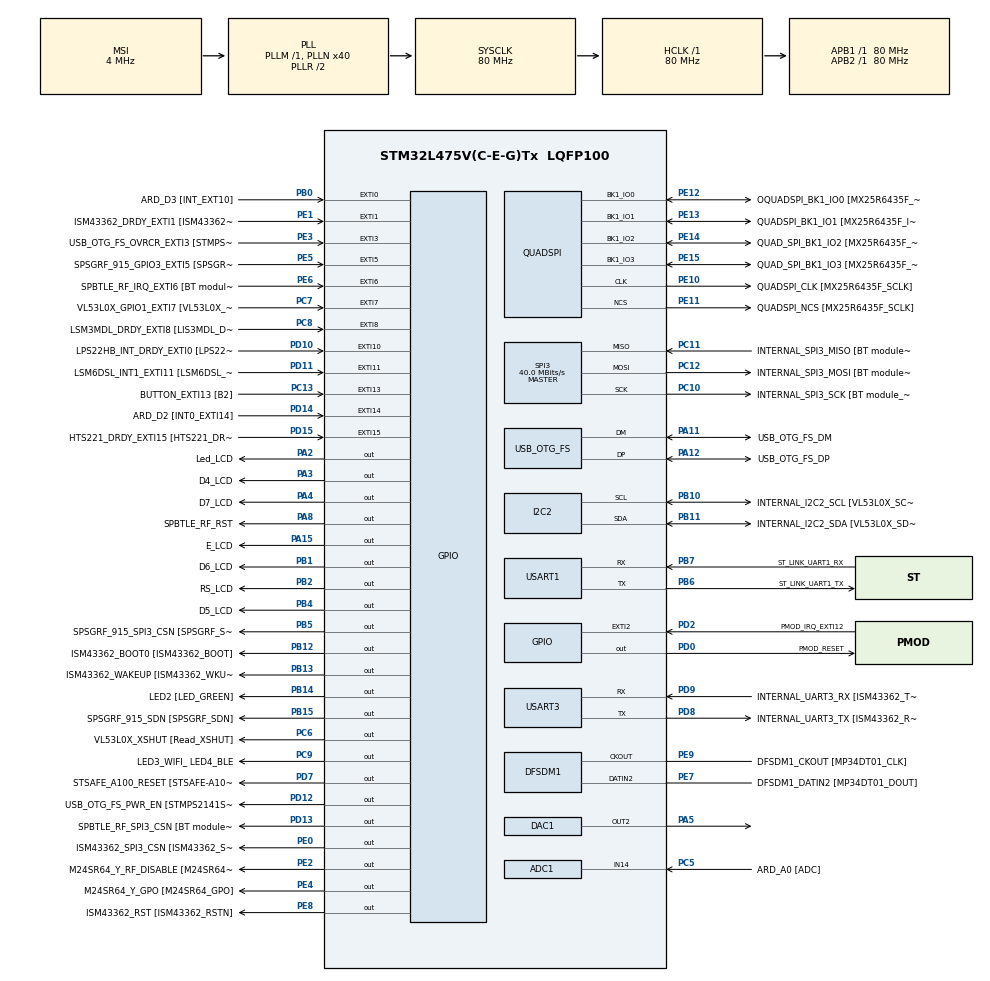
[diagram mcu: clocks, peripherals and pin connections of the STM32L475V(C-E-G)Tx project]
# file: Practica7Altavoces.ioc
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ADC1.Channel-3\#ChannelRegularConversion=ADC_CHANNEL_14
ADC1.NbrOfConversionFlag=1
ADC1.OffsetNumber-3\#ChannelRegularConversion=ADC_OFFSET_NONE
ADC1.Rank-3\#ChannelRegularConversion=1
ADC1.SamplingTime-3\#ChannelRegularConversion=ADC_SAMPLETIME_2CYCLES_5
ADC1.master=1
DAC1.DAC_Channel-DAC_OUT2=DAC_CHANNEL_2
DAC1.DAC_Channel-DAC_OUT2_ExtAndInt=DAC_CHANNEL_2
I2C2.Timing=0x10D19CE4
Mcu.Family=STM32L4
Mcu.Name=STM32L475V(C-E-G)Tx
Mcu.Package=LQFP100
NVIC.EXTI15_10_IRQn=true\:0\:0\:false\:false\:true\:true\:true\:true
NVIC.EXTI9_5_IRQn=true\:0\:0\:false\:false\:true\:true\:true\:true
NVIC.OTG_FS_IRQn=true\:0\:0\:false\:false\:true\:true\:true\:true
NVIC.PriorityGroup=NVIC_PRIORITYGROUP_4
NVIC.TIM7_IRQn=true\:0\:0\:false\:false\:true\:true\:true\:true
PA0.GPIO_Label=ARD_D1 [UART4_TX]
PA0.Signal=UART4_TX
PA1.GPIO_Label=ARD_D0 [UART4_RX]
PA1.Signal=UART4_RX
PA10.GPIO_Label=USB_OTG_FS_ID
PA10.Signal=USB_OTG_FS_ID
PA11.GPIO_Label=USB_OTG_FS_DM
PA11.Mode=Device_Only
PA11.Signal=USB_OTG_FS_DM
PA12.GPIO_Label=USB_OTG_FS_DP
PA12.Mode=Device_Only
PA12.Signal=USB_OTG_FS_DP
PA13\ (JTMS-SWDIO).GPIO_Label=SYS_JTMS_SWDIO
PA13\ (JTMS-SWDIO).Mode=Serial_Wire
PA13\ (JTMS-SWDIO).Signal=SYS_JTMS-SWDIO
PA14\ (JTCK-SWCLK).GPIO_Label=SYS_JTCK_SWCLK
PA14\ (JTCK-SWCLK).Mode=Serial_Wire
PA14\ (JTCK-SWCLK).Signal=SYS_JTCK-SWCLK
PA15\ (JTDI).GPIO_Label=E_LCD
PA15\ (JTDI).Signal=GPIO_Output
PA2.GPIO_Label=Led_LCD
PA2.Signal=GPIO_Output
PA3.GPIO_Label=D4_LCD
PA3.Signal=GPIO_Output
PA4.GPIO_Label=D7_LCD
PA4.Signal=GPIO_Output
PA5.Signal=COMP_DAC12_group
PA6.GPIO_Label=ARD_D12 [SPI1_MISO]
PA6.Signal=SPI1_MISO
PA7.GPIO_Label=ARD_D11 [SPI1_MOSI]
PA7.Signal=SPI1_MOSI
PA8.GPIO_Label=SPBTLE_RF_RST
PA8.Signal=GPIO_Output
PA9.GPIO_Label=USB_OTG_FS_VBUS [STMPS2141STR_OUT]
PA9.Signal=USB_OTG_FS_VBUS
PB0.GPIO_Label=ARD_D3 [INT_EXT10]
PB0.Signal=GPXTI0
PB1.GPIO_Label=D6_LCD
PB1.Signal=GPIO_Output
PB10.GPIO_Label=INTERNAL_I2C2_SCL [VL53L0X_SCL]
PB10.GPIO_Pu=GPIO_PULLUP
PB10.Mode=I2C
PB10.Signal=I2C2_SCL
PB11.GPIO_Label=INTERNAL_I2C2_SDA [VL53L0X_SDA]
PB11.GPIO_Pu=GPIO_PULLUP
PB11.Mode=I2C
PB11.Signal=I2C2_SDA
PB12.GPIO_Label=ISM43362_BOOT0 [ISM43362_BOOT]
PB12.Signal=GPIO_Output
PB13.GPIO_Label=ISM43362_WAKEUP [ISM43362_WKUP]
PB13.Signal=GPIO_Output
PB14.GPIO_Label=LED2 [LED_GREEN]
PB14.Signal=GPIO_Output
PB15.GPIO_Label=SPSGRF_915_SDN [SPSGRF_SDN]
PB15.Signal=GPIO_Output
PB2.GPIO_Label=RS_LCD
PB2.Signal=GPIO_Output
PB3\ (JTDO-TRACESWO).GPIO_Label=SYS_JTD0_SWO
PB3\ (JTDO-TRACESWO).Signal=SYS_JTDO-SWO
PB4\ (NJTRST).GPIO_Label=D5_LCD
PB4\ (NJTRST).Signal=GPIO_Output
PB5.GPIO_Label=SPSGRF_915_SPI3_CSN [SPSGRF_SPI_CS]
PB5.PinState=GPIO_PIN_SET
PB5.Signal=GPIO_Output
PB6.GPIO_Label=ST_LINK_UART1_TX
PB6.Mode=Asynchronous
PB6.Signal=USART1_TX
PB7.GPIO_Label=ST_LINK_UART1_RX
PB7.Mode=Asynchronous
PB7.Signal=USART1_RX
PB8.GPIO_Label=ARD_D15 [I2C1_SCL]
PB8.Signal=I2C1_SCL
PB9.GPIO_Label=ARD_D14 [I2C1_SDA]
PB9.Signal=I2C1_SDA
PC0.GPIO_Label=ARD_A5 [ADC]
PC0.Signal=ADCx_IN1
PC1.GPIO_Label=ARD_A4 [ADC]
PC1.Signal=ADCx_IN2
PC10.GPIO_Label=INTERNAL_SPI3_SCK [BT module_SPI_SCLK] [ISM43362_SCK]
PC10.Mode=Full_Duplex_Master
PC10.Signal=SPI3_SCK
PC11.GPIO_Label=INTERNAL_SPI3_MISO [BT module_SPI_MISO] [ISM43362_MISO]
PC11.Mode=Full_Duplex_Master
PC11.Signal=SPI3_MISO
PC12.GPIO_Label=INTERNAL_SPI3_MOSI [BT module_SPI_MOSI] [ISM43362_MOSI]
PC12.Mode=Full_Duplex_Master
PC12.Signal=SPI3_MOSI
PC13.GPIO_Label=BUTTON_EXTI13 [B2]
PC13.GPIO_ModeDefaultEXTI=GPIO_MODE_IT_FALLING
PC13.Signal=GPXTI13
PC14-OSC32_IN\ (PC14).Mode=LSE-External-Oscillator
PC14-OSC32_IN\ (PC14).Signal=RCC_OSC32_IN
PC15-OSC32_OUT\ (PC15).Mode=LSE-External-Oscillator
PC15-OSC32_OUT\ (PC15).Signal=RCC_OSC32_OUT
PC2.GPIO_Label=ARD_A3 [ADC]
PC2.Signal=ADCx_IN3
PC3.GPIO_Label=ARD_A2 [ADC]
PC3.Signal=ADCx_IN4
PC4.GPIO_Label=ARD_A1 [ADC]
PC4.Signal=ADCx_IN13
PC5.GPIO_Label=ARD_A0 [ADC]
PC5.Signal=ADCx_IN14
PC6.GPIO_Label=VL53L0X_XSHUT [Read_XSHUT]
PC6.Signal=GPIO_Output
PC7.GPIO_Label=VL53L0X_GPIO1_EXTI7 [VL53L0X_GPIO1]
PC7.Signal=GPXTI7
PC8.GPIO_Label=LSM3MDL_DRDY_EXTI8 [LIS3MDL_DRDY]
PC8.Signal=GPXTI8
PC9.GPIO_Label=LED3_WIFI_ LED4_BLE
PC9.Signal=GPIO_Output
PD0.GPIO_Label=PMOD_RESET
PD0.Signal=GPIO_Output
PD1.GPIO_Label=PMOD_SPI2_SCK
PD1.Signal=SPI2_SCK
PD10.GPIO_Label=LPS22HB_INT_DRDY_EXTI0 [LPS22HB_INT_DRDY] 
PD10.Signal=GPXTI10
PD11.GPIO_Label=LSM6DSL_INT1_EXTI11 [LSM6DSL_INT1]
PD11.Signal=GPXTI11
PD12.GPIO_Label=USB_OTG_FS_PWR_EN [STMPS2141STR_EN]
PD12.Signal=GPIO_Output
PD13.GPIO_Label=SPBTLE_RF_SPI3_CSN [BT module_SPI_CS]
PD13.PinState=GPIO_PIN_SET
PD13.Signal=GPIO_Output
PD14.GPIO_Label=ARD_D2 [INT0_EXTI14]
PD14.Signal=GPXTI14
PD15.GPIO_Label=HTS221_DRDY_EXTI15 [HTS221_DRDY]
PD15.Signal=GPXTI15
PD2.GPIO_Label=PMOD_IRQ_EXTI12
PD2.Signal=GPXTI2
PD3.GPIO_Label=PMOD_UART2_CTS
PD3.Signal=USART2_CTS
PD4.GPIO_Label=PMOD_UART2_RTS
PD4.Signal=USART2_RTS
PD5.GPIO_Label=PMOD_UART2_TX
PD5.Signal=USART2_TX
PD6.GPIO_Label=PMOD_UART2_RX
PD6.Signal=USART2_RX
PD7.GPIO_Label=STSAFE_A100_RESET [STSAFE-A100_RESET]
PD7.Signal=GPIO_Output
PD8.GPIO_Label=INTERNAL_UART3_TX [ISM43362_RX]
PD8.Mode=Asynchronous
PD8.Signal=USART3_TX
PD9.GPIO_Label=INTERNAL_UART3_RX [ISM43362_TX]
PD9.Mode=Asynchronous
PD9.Signal=USART3_RX
PE0.GPIO_Label=ISM43362_SPI3_CSN [ISM43362_SSN]
PE0.PinState=GPIO_PIN_SET
PE0.Signal=GPIO_Output
PE1.GPIO_Label=ISM43362_DRDY_EXTI1 [ISM43362_DATARDY]
PE1.Signal=GPXTI1
PE10.GPIO_Label=QUADSPI_CLK [MX25R6435F_SCLK]
PE10.Mode=Single Bank
PE10.Signal=QUADSPI_CLK
PE11.GPIO_Label=QUADSPI_NCS [MX25R6435F_SCLK]
PE11.Mode=Single Bank
PE11.Signal=QUADSPI_NCS
PE12.GPIO_Label=OQUADSPI_BK1_IO0 [MX25R6435F_IO0]
PE12.Mode=Single Bank
PE12.Signal=QUADSPI_BK1_IO0
PE13.GPIO_Label=QUADSPI_BK1_IO1 [MX25R6435F_IO1]
PE13.Mode=Single Bank
PE13.Signal=QUADSPI_BK1_IO1
PE14.GPIO_Label=QUAD_SPI_BK1_IO2 [MX25R6435F_IO2]
PE14.Mode=Single Bank
PE14.Signal=QUADSPI_BK1_IO2
PE15.GPIO_Label=QUAD_SPI_BK1_IO3 [MX25R6435F_IO3]
PE15.Mode=Single Bank
PE15.Signal=QUADSPI_BK1_IO3
PE2.GPIO_Label=M24SR64_Y_RF_DISABLE [M24SR64_RFDIS]
PE2.Signal=GPIO_Output
PE3.GPIO_Label=USB_OTG_FS_OVRCR_EXTI3 [STMPS2141STR_FAULT]
PE3.Signal=GPXTI3
PE4.GPIO_Label=M24SR64_Y_GPO [M24SR64_GPO]
PE4.Signal=GPIO_Output
PE5.GPIO_Label=SPSGRF_915_GPIO3_EXTI5 [SPSGRF_GPIO_3]
PE5.Signal=GPXTI5
PE6.GPIO_Label=SPBTLE_RF_IRQ_EXTI6 [BT module_SPI_IRQ]
PE6.Signal=GPXTI6
PE7.GPIO_Label=DFSDM1_DATIN2 [MP34DT01_DOUT]
PE7.Signal=S_DATAIN2DFSDM1
PE8.GPIO_Label=ISM43362_RST [ISM43362_RSTN]
PE8.Signal=GPIO_Output
PE9.GPIO_Label=DFSDM1_CKOUT [MP34DT01_CLK]
PE9.Signal=S_CKOUTDFSDM1
ProjectManager.HeapSize=0x200
ProjectManager.StackSize=0x400
ProjectManager.TargetToolchain=STM32CubeIDE
QUADSPI.ClockPrescaler=2
QUADSPI.FifoThreshold=4
QUADSPI.FlashSize=23
QUADSPI.SampleShifting=QSPI_SAMPLE_SHIFTING_HALFCYCLE
RCC.ADCFreq_Value=48000000
RCC.AHBFreq_Value=80000000
RCC.APB1Freq_Value=80000000
RCC.APB1TimFreq_Value=80000000
RCC.APB2Freq_Value=80000000
RCC.APB2TimFreq_Value=80000000
RCC.CortexFreq_Value=80000000
RCC.HCLKFreq_Value=80000000
RCC.HSE_VALUE=8000000
RCC.HSI_VALUE=16000000
RCC.MSI_VALUE=4000000
RCC.PLLN=40
RCC.PLLSAI1N=24
RCC.SYSCLKFreq_VALUE=80000000
RCC.SYSCLKSource=RCC_SYSCLKSOURCE_PLLCLK
RCC.USBFreq_Value=48000000
RCC.VCOOutputFreq_Value=160000000
SH.ADCx_IN1.0=ADC1_IN1
SH.ADCx_IN13.0=ADC1_IN13
SH.ADCx_IN14.0=ADC1_IN14,IN14-Single-Ended
SH.ADCx_IN2.0=ADC1_IN2
SH.ADCx_IN3.0=ADC1_IN3
SH.ADCx_IN4.0=ADC1_IN4
SH.COMP_DAC12_group.0=DAC1_OUT2,DAC_OUT2
SH.S_CKOUTDFSDM1.0=DFSDM1_CKOUT,CKOUT
SH.S_CKOUTDFSDM1.1=DFSDM1_CKOUT,PDM_SPI_Input_from_ch12_and_Internal_Clock
SH.S_DATAIN2DFSDM1.0=DFSDM1_DATIN2,PDM_SPI_Input_from_ch12_and_Internal_Clock
SPI3.CalculateBaudRate=40.0 MBits/s
SPI3.Direction=SPI_DIRECTION_2LINES
SPI3.Mode=SPI_MODE_MASTER
SPI3.VirtualType=VM_MASTER
TIM7.Period=3300
USART1.VirtualMode-Asynchronous=VM_ASYNC
USART3.VirtualMode-Asynchronous=VM_ASYNC
USB_DEVICE.CLASS_NAME_FS=AUDIO
USB_DEVICE.USBD_AUDIO_FREQ=24000
USB_DEVICE.VirtualMode=Audio
USB_DEVICE.VirtualModeFS=Audio_FS
USB_OTG_FS.VirtualMode=Device_Only
VP_TIM7_VS_ClockSourceINT.Mode=Enable_Timer
VP_USB_DEVICE_VS_USB_DEVICE_AUDIO_FS.Mode=AUDIO_FS
board=B-L475E-IOT01A1

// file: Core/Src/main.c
/* USER CODE BEGIN Header */
/**
  ******************************************************************************
  * @file           : main.c
  * @brief          : Main program body
  ******************************************************************************
  * @attention
  *
  * Copyright (c) 2025 STMicroelectronics.
  * All rights reserved.
  *
  * This software is licensed under terms that can be found in the LICENSE file
  * in the root directory of this software component.
  * If no LICENSE file comes with this software, it is provided AS-IS.
  *
  ******************************************************************************
  */
/* USER CODE END Header */
#include "main.h"
#include "usb_device.h"

/* USER CODE BEGIN Includes */
#include "hd44780.h"
/* USER CODE END Includes */

ADC_HandleTypeDef hadc1;

DAC_HandleTypeDef hdac1;

DFSDM_Channel_HandleTypeDef hdfsdm1_channel1;

I2C_HandleTypeDef hi2c2;

QSPI_HandleTypeDef hqspi;

SPI_HandleTypeDef hspi3;

TIM_HandleTypeDef htim7;

UART_HandleTypeDef huart1;
UART_HandleTypeDef huart3;

void SystemClock_Config(void);
void PeriphCommonClock_Config(void);
static void MX_GPIO_Init(void);
static void MX_DFSDM1_Init(void);
static void MX_I2C2_Init(void);
static void MX_QUADSPI_Init(void);
static void MX_SPI3_Init(void);
static void MX_USART1_UART_Init(void);
static void MX_USART3_UART_Init(void);
static void MX_DAC1_Init(void);
static void MX_TIM7_Init(void);
static void MX_ADC1_Init(void);
/* USER CODE BEGIN PFP */
void my_button(void);
/* USER CODE END PFP */

int main(void)
{

  /* MCU Configuration--------------------------------------------------------*/

  /* Reset of all peripherals, Initializes the Flash interface and the Systick. */
  HAL_Init();

  /* Configure the system clock */
  SystemClock_Config();

  /* Configure the peripherals common clocks */
  PeriphCommonClock_Config();

  /* Initialize all configured peripherals */
  MX_GPIO_Init();
  MX_DFSDM1_Init();
  MX_I2C2_Init();
  MX_QUADSPI_Init();
  MX_SPI3_Init();
  MX_USART1_UART_Init();
  MX_USART3_UART_Init();
  MX_DAC1_Init();
  MX_TIM7_Init();
  MX_USB_DEVICE_Init();
  MX_ADC1_Init();
  /* USER CODE BEGIN 2 */
  HAL_DAC_Start(&hdac1, DAC1_CHANNEL_2);
  HAL_TIM_Base_Start_IT(&htim7);
  lcd_reset();
  lcd_display_settings(1,0,0);
  lcd_clear();
  HAL_GPIO_WritePin(GPIOA, Led_LCD_Pin, 1);
  /* USER CODE END 2 */

  /* Infinite loop */
  /* USER CODE BEGIN WHILE */
  while (1)
  {
    /*moveToXY(0,0);
    HAL_ADC_Start(&hadc1);
    HAL_ADC_PollForConversion(&hadc1, 100);
    writeIntegerToLCD(HAL_ADC_GetValue (&hadc1));
    HAL_Delay(300);*/
    /* USER CODE END WHILE */

    /* USER CODE BEGIN 3 */
    my_button();
    HAL_Delay(200);
  }
  /* USER CODE END 3 */
}

void SystemClock_Config(void)
{
  RCC_OscInitTypeDef RCC_OscInitStruct = {0};
  RCC_ClkInitTypeDef RCC_ClkInitStruct = {0};

  /** Configure the main internal regulator output voltage
  */
  if (HAL_PWREx_ControlVoltageScaling(PWR_REGULATOR_VOLTAGE_SCALE1) != HAL_OK)
  {
    Error_Handler();
  }

  /** Configure LSE Drive Capability
  */
  HAL_PWR_EnableBkUpAccess();
  __HAL_RCC_LSEDRIVE_CONFIG(RCC_LSEDRIVE_LOW);

  /** Initializes the RCC Oscillators according to the specified parameters
  * in the RCC_OscInitTypeDef structure.
  */
  RCC_OscInitStruct.OscillatorType = RCC_OSCILLATORTYPE_LSE|RCC_OSCILLATORTYPE_MSI;
  RCC_OscInitStruct.LSEState = RCC_LSE_ON;
  RCC_OscInitStruct.MSIState = RCC_MSI_ON;
  RCC_OscInitStruct.MSICalibrationValue = 0;
  RCC_OscInitStruct.MSIClockRange = RCC_MSIRANGE_6;
  RCC_OscInitStruct.PLL.PLLState = RCC_PLL_ON;
  RCC_OscInitStruct.PLL.PLLSource = RCC_PLLSOURCE_MSI;
  RCC_OscInitStruct.PLL.PLLM = 1;
  RCC_OscInitStruct.PLL.PLLN = 40;
  RCC_OscInitStruct.PLL.PLLP = RCC_PLLP_DIV7;
  RCC_OscInitStruct.PLL.PLLQ = RCC_PLLQ_DIV2;
  RCC_OscInitStruct.PLL.PLLR = RCC_PLLR_DIV2;
  if (HAL_RCC_OscConfig(&RCC_OscInitStruct) != HAL_OK)
  {
    Error_Handler();
  }

  /** Initializes the CPU, AHB and APB buses clocks
  */
  RCC_ClkInitStruct.ClockType = RCC_CLOCKTYPE_HCLK|RCC_CLOCKTYPE_SYSCLK
                              |RCC_CLOCKTYPE_PCLK1|RCC_CLOCKTYPE_PCLK2;
  RCC_ClkInitStruct.SYSCLKSource = RCC_SYSCLKSOURCE_PLLCLK;
  RCC_ClkInitStruct.AHBCLKDivider = RCC_SYSCLK_DIV1;
  RCC_ClkInitStruct.APB1CLKDivider = RCC_HCLK_DIV1;
  RCC_ClkInitStruct.APB2CLKDivider = RCC_HCLK_DIV1;

  if (HAL_RCC_ClockConfig(&RCC_ClkInitStruct, FLASH_LATENCY_4) != HAL_OK)
  {
    Error_Handler();
  }

  /** Enable MSI Auto calibration
  */
  HAL_RCCEx_EnableMSIPLLMode();
}

void PeriphCommonClock_Config(void)
{
  RCC_PeriphCLKInitTypeDef PeriphClkInit = {0};

  /** Initializes the peripherals clock
  */
  PeriphClkInit.PeriphClockSelection = RCC_PERIPHCLK_USB|RCC_PERIPHCLK_ADC;
  PeriphClkInit.AdcClockSelection = RCC_ADCCLKSOURCE_PLLSAI1;
  PeriphClkInit.UsbClockSelection = RCC_USBCLKSOURCE_PLLSAI1;
  PeriphClkInit.PLLSAI1.PLLSAI1Source = RCC_PLLSOURCE_MSI;
  PeriphClkInit.PLLSAI1.PLLSAI1M = 1;
  PeriphClkInit.PLLSAI1.PLLSAI1N = 24;
  PeriphClkInit.PLLSAI1.PLLSAI1P = RCC_PLLP_DIV7;
  PeriphClkInit.PLLSAI1.PLLSAI1Q = RCC_PLLQ_DIV2;
  PeriphClkInit.PLLSAI1.PLLSAI1R = RCC_PLLR_DIV2;
  PeriphClkInit.PLLSAI1.PLLSAI1ClockOut = RCC_PLLSAI1_48M2CLK|RCC_PLLSAI1_ADC1CLK;
  if (HAL_RCCEx_PeriphCLKConfig(&PeriphClkInit) != HAL_OK)
  {
    Error_Handler();
  }
}

static void MX_ADC1_Init(void)
{

  ADC_MultiModeTypeDef multimode = {0};
  ADC_ChannelConfTypeDef sConfig = {0};

  /** Common config
  */
  hadc1.Instance = ADC1;
  hadc1.Init.ClockPrescaler = ADC_CLOCK_ASYNC_DIV1;
  hadc1.Init.Resolution = ADC_RESOLUTION_12B;
  hadc1.Init.DataAlign = ADC_DATAALIGN_RIGHT;
  hadc1.Init.ScanConvMode = ADC_SCAN_DISABLE;
  hadc1.Init.EOCSelection = ADC_EOC_SINGLE_CONV;
  hadc1.Init.LowPowerAutoWait = DISABLE;
  hadc1.Init.ContinuousConvMode = DISABLE;
  hadc1.Init.NbrOfConversion = 1;
  hadc1.Init.DiscontinuousConvMode = DISABLE;
  hadc1.Init.ExternalTrigConv = ADC_SOFTWARE_START;
  hadc1.Init.ExternalTrigConvEdge = ADC_EXTERNALTRIGCONVEDGE_NONE;
  hadc1.Init.DMAContinuousRequests = DISABLE;
  hadc1.Init.Overrun = ADC_OVR_DATA_PRESERVED;
  hadc1.Init.OversamplingMode = DISABLE;
  if (HAL_ADC_Init(&hadc1) != HAL_OK)
  {
    Error_Handler();
  }

  /** Configure the ADC multi-mode
  */
  multimode.Mode = ADC_MODE_INDEPENDENT;
  if (HAL_ADCEx_MultiModeConfigChannel(&hadc1, &multimode) != HAL_OK)
  {
    Error_Handler();
  }

  /** Configure Regular Channel
  */
  sConfig.Channel = ADC_CHANNEL_14;
  sConfig.Rank = ADC_REGULAR_RANK_1;
  sConfig.SamplingTime = ADC_SAMPLETIME_2CYCLES_5;
  sConfig.SingleDiff = ADC_SINGLE_ENDED;
  sConfig.OffsetNumber = ADC_OFFSET_NONE;
  sConfig.Offset = 0;
  if (HAL_ADC_ConfigChannel(&hadc1, &sConfig) != HAL_OK)
  {
    Error_Handler();
  }

}

static void MX_DAC1_Init(void)
{

  DAC_ChannelConfTypeDef sConfig = {0};

  /** DAC Initialization
  */
  hdac1.Instance = DAC1;
  if (HAL_DAC_Init(&hdac1) != HAL_OK)
  {
    Error_Handler();
  }

  /** DAC channel OUT2 config
  */
  sConfig.DAC_SampleAndHold = DAC_SAMPLEANDHOLD_DISABLE;
  sConfig.DAC_Trigger = DAC_TRIGGER_NONE;
  sConfig.DAC_OutputBuffer = DAC_OUTPUTBUFFER_ENABLE;
  sConfig.DAC_ConnectOnChipPeripheral = DAC_CHIPCONNECT_DISABLE;
  sConfig.DAC_UserTrimming = DAC_TRIMMING_FACTORY;
  if (HAL_DAC_ConfigChannel(&hdac1, &sConfig, DAC_CHANNEL_2) != HAL_OK)
  {
    Error_Handler();
  }

}

static void MX_DFSDM1_Init(void)
{

  hdfsdm1_channel1.Instance = DFSDM1_Channel1;
  hdfsdm1_channel1.Init.OutputClock.Activation = ENABLE;
  hdfsdm1_channel1.Init.OutputClock.Selection = DFSDM_CHANNEL_OUTPUT_CLOCK_SYSTEM;
  hdfsdm1_channel1.Init.OutputClock.Divider = 2;
  hdfsdm1_channel1.Init.Input.Multiplexer = DFSDM_CHANNEL_EXTERNAL_INPUTS;
  hdfsdm1_channel1.Init.Input.DataPacking = DFSDM_CHANNEL_STANDARD_MODE;
  hdfsdm1_channel1.Init.Input.Pins = DFSDM_CHANNEL_FOLLOWING_CHANNEL_PINS;
  hdfsdm1_channel1.Init.SerialInterface.Type = DFSDM_CHANNEL_SPI_RISING;
  hdfsdm1_channel1.Init.SerialInterface.SpiClock = DFSDM_CHANNEL_SPI_CLOCK_INTERNAL;
  hdfsdm1_channel1.Init.Awd.FilterOrder = DFSDM_CHANNEL_FASTSINC_ORDER;
  hdfsdm1_channel1.Init.Awd.Oversampling = 1;
  hdfsdm1_channel1.Init.Offset = 0;
  hdfsdm1_channel1.Init.RightBitShift = 0x00;
  if (HAL_DFSDM_ChannelInit(&hdfsdm1_channel1) != HAL_OK)
  {
    Error_Handler();
  }

}

static void MX_I2C2_Init(void)
{

  hi2c2.Instance = I2C2;
  hi2c2.Init.Timing = 0x10D19CE4;
  hi2c2.Init.OwnAddress1 = 0;
  hi2c2.Init.AddressingMode = I2C_ADDRESSINGMODE_7BIT;
  hi2c2.Init.DualAddressMode = I2C_DUALADDRESS_DISABLE;
  hi2c2.Init.OwnAddress2 = 0;
  hi2c2.Init.OwnAddress2Masks = I2C_OA2_NOMASK;
  hi2c2.Init.GeneralCallMode = I2C_GENERALCALL_DISABLE;
  hi2c2.Init.NoStretchMode = I2C_NOSTRETCH_DISABLE;
  if (HAL_I2C_Init(&hi2c2) != HAL_OK)
  {
    Error_Handler();
  }

  /** Configure Analogue filter
  */
  if (HAL_I2CEx_ConfigAnalogFilter(&hi2c2, I2C_ANALOGFILTER_ENABLE) != HAL_OK)
  {
    Error_Handler();
  }

  /** Configure Digital filter
  */
  if (HAL_I2CEx_ConfigDigitalFilter(&hi2c2, 0) != HAL_OK)
  {
    Error_Handler();
  }

}

static void MX_QUADSPI_Init(void)
{

  /* QUADSPI parameter configuration*/
  hqspi.Instance = QUADSPI;
  hqspi.Init.ClockPrescaler = 2;
  hqspi.Init.FifoThreshold = 4;
  hqspi.Init.SampleShifting = QSPI_SAMPLE_SHIFTING_HALFCYCLE;
  hqspi.Init.FlashSize = 23;
  hqspi.Init.ChipSelectHighTime = QSPI_CS_HIGH_TIME_1_CYCLE;
  hqspi.Init.ClockMode = QSPI_CLOCK_MODE_0;
  if (HAL_QSPI_Init(&hqspi) != HAL_OK)
  {
    Error_Handler();
  }

}

static void MX_SPI3_Init(void)
{

  /* SPI3 parameter configuration*/
  hspi3.Instance = SPI3;
  hspi3.Init.Mode = SPI_MODE_MASTER;
  hspi3.Init.Direction = SPI_DIRECTION_2LINES;
  hspi3.Init.DataSize = SPI_DATASIZE_4BIT;
  hspi3.Init.CLKPolarity = SPI_POLARITY_LOW;
  hspi3.Init.CLKPhase = SPI_PHASE_1EDGE;
  hspi3.Init.NSS = SPI_NSS_SOFT;
  hspi3.Init.BaudRatePrescaler = SPI_BAUDRATEPRESCALER_2;
  hspi3.Init.FirstBit = SPI_FIRSTBIT_MSB;
  hspi3.Init.TIMode = SPI_TIMODE_DISABLE;
  hspi3.Init.CRCCalculation = SPI_CRCCALCULATION_DISABLE;
  hspi3.Init.CRCPolynomial = 7;
  hspi3.Init.CRCLength = SPI_CRC_LENGTH_DATASIZE;
  hspi3.Init.NSSPMode = SPI_NSS_PULSE_ENABLE;
  if (HAL_SPI_Init(&hspi3) != HAL_OK)
  {
    Error_Handler();
  }

}

static void MX_TIM7_Init(void)
{

  TIM_MasterConfigTypeDef sMasterConfig = {0};

  htim7.Instance = TIM7;
  htim7.Init.Prescaler = 0;
  htim7.Init.CounterMode = TIM_COUNTERMODE_UP;
  htim7.Init.Period = 3300;
  htim7.Init.AutoReloadPreload = TIM_AUTORELOAD_PRELOAD_DISABLE;
  if (HAL_TIM_Base_Init(&htim7) != HAL_OK)
  {
    Error_Handler();
  }
  sMasterConfig.MasterOutputTrigger = TIM_TRGO_RESET;
  sMasterConfig.MasterSlaveMode = TIM_MASTERSLAVEMODE_DISABLE;
  if (HAL_TIMEx_MasterConfigSynchronization(&htim7, &sMasterConfig) != HAL_OK)
  {
    Error_Handler();
  }

}

static void MX_USART1_UART_Init(void)
{

  huart1.Instance = USART1;
  huart1.Init.BaudRate = 115200;
  huart1.Init.WordLength = UART_WORDLENGTH_8B;
  huart1.Init.StopBits = UART_STOPBITS_1;
  huart1.Init.Parity = UART_PARITY_NONE;
  huart1.Init.Mode = UART_MODE_TX_RX;
  huart1.Init.HwFlowCtl = UART_HWCONTROL_NONE;
  huart1.Init.OverSampling = UART_OVERSAMPLING_16;
  huart1.Init.OneBitSampling = UART_ONE_BIT_SAMPLE_DISABLE;
  huart1.AdvancedInit.AdvFeatureInit = UART_ADVFEATURE_NO_INIT;
  if (HAL_UART_Init(&huart1) != HAL_OK)
  {
    Error_Handler();
  }

}

static void MX_USART3_UART_Init(void)
{

  huart3.Instance = USART3;
  huart3.Init.BaudRate = 115200;
  huart3.Init.WordLength = UART_WORDLENGTH_8B;
  huart3.Init.StopBits = UART_STOPBITS_1;
  huart3.Init.Parity = UART_PARITY_NONE;
  huart3.Init.Mode = UART_MODE_TX_RX;
  huart3.Init.HwFlowCtl = UART_HWCONTROL_NONE;
  huart3.Init.OverSampling = UART_OVERSAMPLING_16;
  huart3.Init.OneBitSampling = UART_ONE_BIT_SAMPLE_DISABLE;
  huart3.AdvancedInit.AdvFeatureInit = UART_ADVFEATURE_NO_INIT;
  if (HAL_UART_Init(&huart3) != HAL_OK)
  {
    Error_Handler();
  }

}

static void MX_GPIO_Init(void)
{
  GPIO_InitTypeDef GPIO_InitStruct = {0};

  /* GPIO Ports Clock Enable */
  __HAL_RCC_GPIOE_CLK_ENABLE();
  __HAL_RCC_GPIOC_CLK_ENABLE();
  __HAL_RCC_GPIOA_CLK_ENABLE();
  __HAL_RCC_GPIOB_CLK_ENABLE();
  __HAL_RCC_GPIOD_CLK_ENABLE();

  /*Configure GPIO pin Output Level */
  HAL_GPIO_WritePin(GPIOE, M24SR64_Y_RF_DISABLE_Pin|M24SR64_Y_GPO_Pin|ISM43362_RST_Pin, GPIO_PIN_RESET);

  /*Configure GPIO pin Output Level */
  HAL_GPIO_WritePin(GPIOA, Led_LCD_Pin|D4_LCD_Pin|D7_LCD_Pin|SPBTLE_RF_RST_Pin
                          |E_LCD_Pin, GPIO_PIN_RESET);

  /*Configure GPIO pin Output Level */
  HAL_GPIO_WritePin(GPIOB, D6_LCD_Pin|RS_LCD_Pin|ISM43362_BOOT0_Pin|ISM43362_WAKEUP_Pin
                          |LED2_Pin|SPSGRF_915_SDN_Pin|D5_LCD_Pin, GPIO_PIN_RESET);

  /*Configure GPIO pin Output Level */
  HAL_GPIO_WritePin(GPIOD, USB_OTG_FS_PWR_EN_Pin|PMOD_RESET_Pin|STSAFE_A100_RESET_Pin, GPIO_PIN_RESET);

  /*Configure GPIO pin Output Level */
  HAL_GPIO_WritePin(SPBTLE_RF_SPI3_CSN_GPIO_Port, SPBTLE_RF_SPI3_CSN_Pin, GPIO_PIN_SET);

  /*Configure GPIO pin Output Level */
  HAL_GPIO_WritePin(GPIOC, VL53L0X_XSHUT_Pin|LED3_WIFI__LED4_BLE_Pin, GPIO_PIN_RESET);

  /*Configure GPIO pin Output Level */
  HAL_GPIO_WritePin(SPSGRF_915_SPI3_CSN_GPIO_Port, SPSGRF_915_SPI3_CSN_Pin, GPIO_PIN_SET);

  /*Configure GPIO pin Output Level */
  HAL_GPIO_WritePin(ISM43362_SPI3_CSN_GPIO_Port, ISM43362_SPI3_CSN_Pin, GPIO_PIN_SET);

  /*Configure GPIO pins : M24SR64_Y_RF_DISABLE_Pin M24SR64_Y_GPO_Pin ISM43362_RST_Pin ISM43362_SPI3_CSN_Pin */
  GPIO_InitStruct.Pin = M24SR64_Y_RF_DISABLE_Pin|M24SR64_Y_GPO_Pin|ISM43362_RST_Pin|ISM43362_SPI3_CSN_Pin;
  GPIO_InitStruct.Mode = GPIO_MODE_OUTPUT_PP;
  GPIO_InitStruct.Pull = GPIO_NOPULL;
  GPIO_InitStruct.Speed = GPIO_SPEED_FREQ_LOW;
  HAL_GPIO_Init(GPIOE, &GPIO_InitStruct);

  /*Configure GPIO pins : USB_OTG_FS_OVRCR_EXTI3_Pin SPSGRF_915_GPIO3_EXTI5_Pin SPBTLE_RF_IRQ_EXTI6_Pin ISM43362_DRDY_EXTI1_Pin */
  GPIO_InitStruct.Pin = USB_OTG_FS_OVRCR_EXTI3_Pin|SPSGRF_915_GPIO3_EXTI5_Pin|SPBTLE_RF_IRQ_EXTI6_Pin|ISM43362_DRDY_EXTI1_Pin;
  GPIO_InitStruct.Mode = GPIO_MODE_IT_RISING;
  GPIO_InitStruct.Pull = GPIO_NOPULL;
  HAL_GPIO_Init(GPIOE, &GPIO_InitStruct);

  /*Configure GPIO pin : BUTTON_EXTI13_Pin */
  GPIO_InitStruct.Pin = BUTTON_EXTI13_Pin;
  GPIO_InitStruct.Mode = GPIO_MODE_IT_FALLING;
  GPIO_InitStruct.Pull = GPIO_NOPULL;
  HAL_GPIO_Init(BUTTON_EXTI13_GPIO_Port, &GPIO_InitStruct);

  /*Configure GPIO pins : ARD_D1_Pin ARD_D0_Pin */
  GPIO_InitStruct.Pin = ARD_D1_Pin|ARD_D0_Pin;
  GPIO_InitStruct.Mode = GPIO_MODE_AF_PP;
  GPIO_InitStruct.Pull = GPIO_NOPULL;
  GPIO_InitStruct.Speed = GPIO_SPEED_FREQ_VERY_HIGH;
  GPIO_InitStruct.Alternate = GPIO_AF8_UART4;
  HAL_GPIO_Init(GPIOA, &GPIO_InitStruct);

  /*Configure GPIO pins : Led_LCD_Pin D4_LCD_Pin D7_LCD_Pin SPBTLE_RF_RST_Pin
                           E_LCD_Pin */
  GPIO_InitStruct.Pin = Led_LCD_Pin|D4_LCD_Pin|D7_LCD_Pin|SPBTLE_RF_RST_Pin
                          |E_LCD_Pin;
  GPIO_InitStruct.Mode = GPIO_MODE_OUTPUT_PP;
  GPIO_InitStruct.Pull = GPIO_NOPULL;
  GPIO_InitStruct.Speed = GPIO_SPEED_FREQ_LOW;
  HAL_GPIO_Init(GPIOA, &GPIO_InitStruct);

  /*Configure GPIO pins : ARD_D12_Pin ARD_D11_Pin */
  GPIO_InitStruct.Pin = ARD_D12_Pin|ARD_D11_Pin;
  GPIO_InitStruct.Mode = GPIO_MODE_AF_PP;
  GPIO_InitStruct.Pull = GPIO_NOPULL;
  GPIO_InitStruct.Speed = GPIO_SPEED_FREQ_VERY_HIGH;
  GPIO_InitStruct.Alternate = GPIO_AF5_SPI1;
  HAL_GPIO_Init(GPIOA, &GPIO_InitStruct);

  /*Configure GPIO pin : ARD_D3_Pin */
  GPIO_InitStruct.Pin = ARD_D3_Pin;
  GPIO_InitStruct.Mode = GPIO_MODE_IT_RISING;
  GPIO_InitStruct.Pull = GPIO_NOPULL;
  HAL_GPIO_Init(ARD_D3_GPIO_Port, &GPIO_InitStruct);

  /*Configure GPIO pins : D6_LCD_Pin RS_LCD_Pin ISM43362_BOOT0_Pin ISM43362_WAKEUP_Pin
                           LED2_Pin SPSGRF_915_SDN_Pin D5_LCD_Pin SPSGRF_915_SPI3_CSN_Pin */
  GPIO_InitStruct.Pin = D6_LCD_Pin|RS_LCD_Pin|ISM43362_BOOT0_Pin|ISM43362_WAKEUP_Pin
                          |LED2_Pin|SPSGRF_915_SDN_Pin|D5_LCD_Pin|SPSGRF_915_SPI3_CSN_Pin;
  GPIO_InitStruct.Mode = GPIO_MODE_OUTPUT_PP;
  GPIO_InitStruct.Pull = GPIO_NOPULL;
  GPIO_InitStruct.Speed = GPIO_SPEED_FREQ_LOW;
  HAL_GPIO_Init(GPIOB, &GPIO_InitStruct);

  /*Configure GPIO pins : LPS22HB_INT_DRDY_EXTI0_Pin LSM6DSL_INT1_EXTI11_Pin ARD_D2_Pin HTS221_DRDY_EXTI15_Pin
                           PMOD_IRQ_EXTI12_Pin */
  GPIO_InitStruct.Pin = LPS22HB_INT_DRDY_EXTI0_Pin|LSM6DSL_INT1_EXTI11_Pin|ARD_D2_Pin|HTS221_DRDY_EXTI15_Pin
                          |PMOD_IRQ_EXTI12_Pin;
  GPIO_InitStruct.Mode = GPIO_MODE_IT_RISING;
  GPIO_InitStruct.Pull = GPIO_NOPULL;
  HAL_GPIO_Init(GPIOD, &GPIO_InitStruct);

  /*Configure GPIO pins : USB_OTG_FS_PWR_EN_Pin SPBTLE_RF_SPI3_CSN_Pin PMOD_RESET_Pin STSAFE_A100_RESET_Pin */
  GPIO_InitStruct.Pin = USB_OTG_FS_PWR_EN_Pin|SPBTLE_RF_SPI3_CSN_Pin|PMOD_RESET_Pin|STSAFE_A100_RESET_Pin;
  GPIO_InitStruct.Mode = GPIO_MODE_OUTPUT_PP;
  GPIO_InitStruct.Pull = GPIO_NOPULL;
  GPIO_InitStruct.Speed = GPIO_SPEED_FREQ_LOW;
  HAL_GPIO_Init(GPIOD, &GPIO_InitStruct);

  /*Configure GPIO pins : VL53L0X_XSHUT_Pin LED3_WIFI__LED4_BLE_Pin */
  GPIO_InitStruct.Pin = VL53L0X_XSHUT_Pin|LED3_WIFI__LED4_BLE_Pin;
  GPIO_InitStruct.Mode = GPIO_MODE_OUTPUT_PP;
  GPIO_InitStruct.Pull = GPIO_NOPULL;
  GPIO_InitStruct.Speed = GPIO_SPEED_FREQ_LOW;
  HAL_GPIO_Init(GPIOC, &GPIO_InitStruct);

  /*Configure GPIO pins : VL53L0X_GPIO1_EXTI7_Pin LSM3MDL_DRDY_EXTI8_Pin */
  GPIO_InitStruct.Pin = VL53L0X_GPIO1_EXTI7_Pin|LSM3MDL_DRDY_EXTI8_Pin;
  GPIO_InitStruct.Mode = GPIO_MODE_IT_RISING;
  GPIO_InitStruct.Pull = GPIO_NOPULL;
  HAL_GPIO_Init(GPIOC, &GPIO_InitStruct);

  /*Configure GPIO pin : PMOD_SPI2_SCK_Pin */
  GPIO_InitStruct.Pin = PMOD_SPI2_SCK_Pin;
  GPIO_InitStruct.Mode = GPIO_MODE_AF_PP;
  GPIO_InitStruct.Pull = GPIO_NOPULL;
  GPIO_InitStruct.Speed = GPIO_SPEED_FREQ_VERY_HIGH;
  GPIO_InitStruct.Alternate = GPIO_AF5_SPI2;
  HAL_GPIO_Init(PMOD_SPI2_SCK_GPIO_Port, &GPIO_InitStruct);

  /*Configure GPIO pins : PMOD_UART2_CTS_Pin PMOD_UART2_RTS_Pin PMOD_UART2_TX_Pin PMOD_UART2_RX_Pin */
  GPIO_InitStruct.Pin = PMOD_UART2_CTS_Pin|PMOD_UART2_RTS_Pin|PMOD_UART2_TX_Pin|PMOD_UART2_RX_Pin;
  GPIO_InitStruct.Mode = GPIO_MODE_AF_PP;
  GPIO_InitStruct.Pull = GPIO_NOPULL;
  GPIO_InitStruct.Speed = GPIO_SPEED_FREQ_VERY_HIGH;
  GPIO_InitStruct.Alternate = GPIO_AF7_USART2;
  HAL_GPIO_Init(GPIOD, &GPIO_InitStruct);

  /*Configure GPIO pins : ARD_D15_Pin ARD_D14_Pin */
  GPIO_InitStruct.Pin = ARD_D15_Pin|ARD_D14_Pin;
  GPIO_InitStruct.Mode = GPIO_MODE_AF_OD;
  GPIO_InitStruct.Pull = GPIO_NOPULL;
  GPIO_InitStruct.Speed = GPIO_SPEED_FREQ_VERY_HIGH;
  GPIO_InitStruct.Alternate = GPIO_AF4_I2C1;
  HAL_GPIO_Init(GPIOB, &GPIO_InitStruct);

  /* EXTI interrupt init*/
  HAL_NVIC_SetPriority(EXTI9_5_IRQn, 0, 0);
  HAL_NVIC_EnableIRQ(EXTI9_5_IRQn);

  HAL_NVIC_SetPriority(EXTI15_10_IRQn, 0, 0);
  HAL_NVIC_EnableIRQ(EXTI15_10_IRQn);

}

/* USER CODE BEGIN 4 */
  extern float gain;
  extern uint8_t effect;
  void my_button(void)
  {
	uint16_t button;
	char str[16];
	HAL_ADC_Start(&hadc1);
	HAL_ADC_PollForConversion(&hadc1, 100);
	button = HAL_ADC_GetValue(&hadc1);
	if (button < 3000)
	{
		if (button < 2500 && 2000 < button) //boton LEFT
			effect = effect - 5;

		if(button < 10)                     //boton RIGHT
			effect = effect + 5;

		if(button < 1900 && 1300 < button)  //Boton DOWN
			gain = gain - 0.1;

		if(button < 750 && 650 < button)    //Boton UP
			gain = gain + 0.1;

		moveToXY(0,0);
		lcd_print("Effect= ");
		writeIntegerToLCD(effect);
		moveToXY(1,0);
		sprintf(str, "Gain= %f", gain);
		lcd_print(str);
	}
  }
/* USER CODE END 4 */

void Error_Handler(void)
{
  __disable_irq();
  while (1)
  {
  }
}
